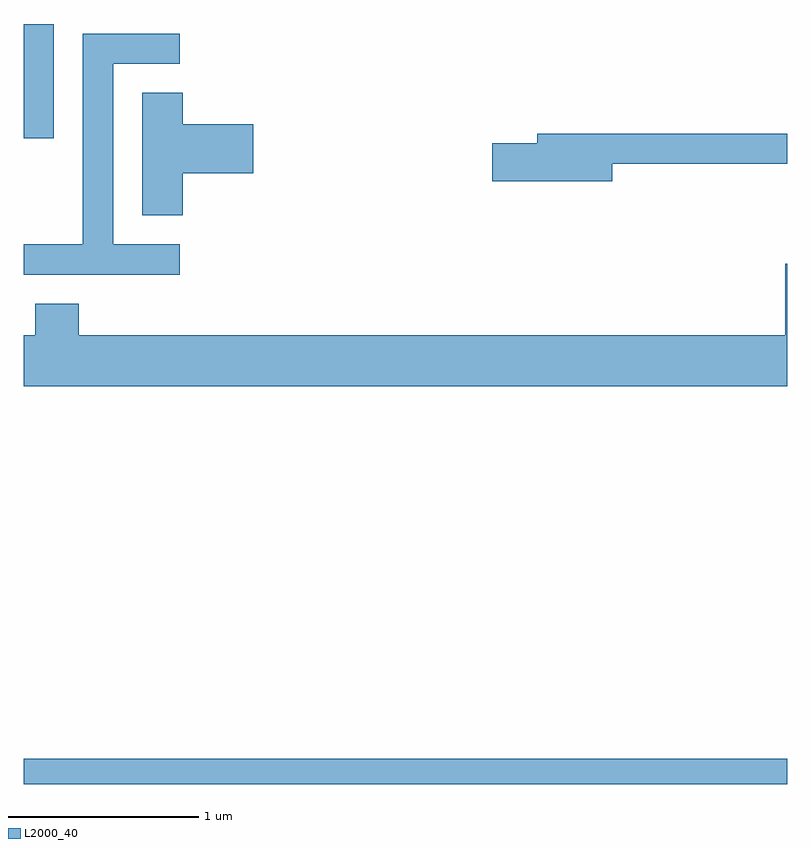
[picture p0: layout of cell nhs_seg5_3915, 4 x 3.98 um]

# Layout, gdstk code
import gdstk
lib = gdstk.Library(unit=1e-6, precision=1e-09)
def R(c, l, rs):  # rectangles x0, y0, x1, y1
    for r in rs: c.add(gdstk.rectangle(r[:2], r[2:], *l))
def P(c, l, *ps):  # polygons
    for p in ps: c.add(gdstk.Polygon(p, *l))
L2000_40 = (2000, 40)

nhs_seg5_3915 = lib.new_cell('nhs_seg5_3915')
R(nhs_seg5_3915, L2000_40, [(301.611,1428.072,305.611,1428.204), (301.611,1431.456,301.769,1432.054)])
P(nhs_seg5_3915, L2000_40, [(302.428,1430.899),(302.079,1430.899),(302.079,1431.846),(302.428,1431.846),(302.428,1432.004),(301.921,1432.004),(301.921,1430.899),(301.611,1430.899),(301.611,1430.741),(302.428,1430.741)],
  [(302.444,1431.271),(302.814,1431.271),(302.814,1431.529),(302.444,1431.529),(302.444,1431.694),(302.231,1431.694),(302.231,1431.051),(302.444,1431.051)],
  [(304.694,1431.321),(305.611,1431.321),(305.611,1431.479),(304.301,1431.479),(304.301,1431.429),(304.066,1431.429),(304.066,1431.231),(304.694,1431.231)],
  [(305.611,1430.799),(305.601,1430.799),(305.601,1430.424),(301.899,1430.424),(301.899,1430.589),(301.671,1430.589),(301.671,1430.424),(301.611,1430.424),(301.611,1430.156),(305.611,1430.156)])

lib.write_gds('nhs_seg5_3915.gds')
